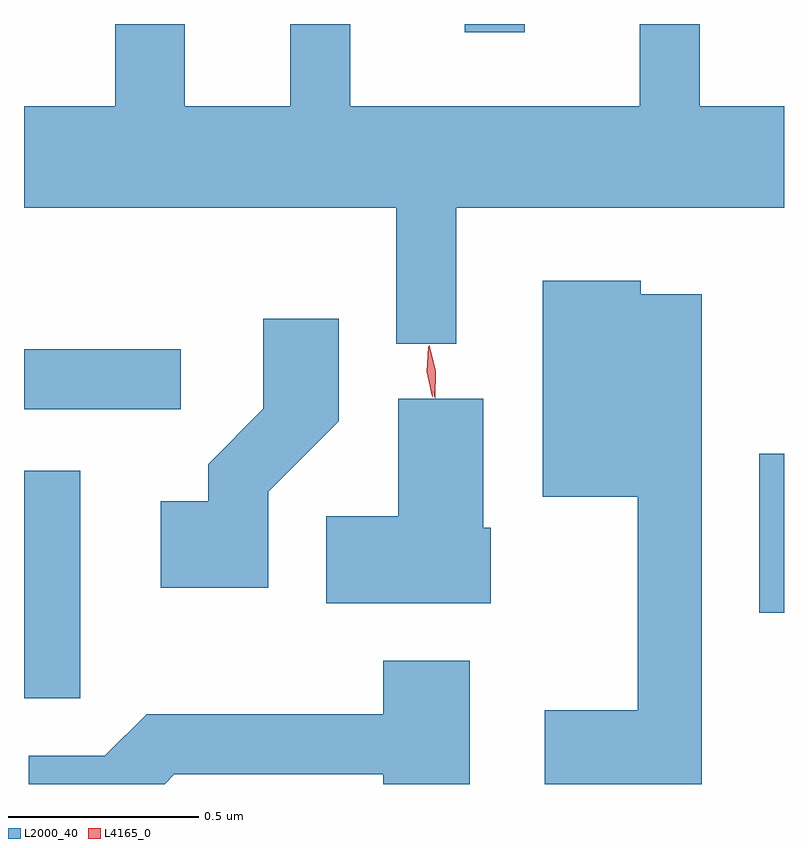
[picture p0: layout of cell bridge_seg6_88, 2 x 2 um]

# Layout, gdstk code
import gdstk
lib = gdstk.Library(unit=1e-6, precision=1e-09)
def R(c, l, rs):  # rectangles x0, y0, x1, y1
    for r in rs: c.add(gdstk.rectangle(r[:2], r[2:], *l))
def P(c, l, *ps):  # polygons
    for p in ps: c.add(gdstk.Polygon(p, *l))
L2000_40 = (2000, 40)
L4165_0 = (4165, 0)

bridge_seg6_88 = lib.new_cell('bridge_seg6_88')
R(bridge_seg6_88, L2000_40, [(1357.596,1648.646,1357.744,1649.244), (1359.531,1648.871,1359.596,1649.289), (1357.596,1649.406,1358.008,1649.564), (1358.756,1650.398,1358.914,1650.42)])
P(bridge_seg6_88, L2000_40, [(1358.734,1649.936),(1359.596,1649.936),(1359.596,1650.204),(1359.374,1650.204),(1359.374,1650.42),(1359.216,1650.42),(1359.216,1650.204),(1358.454,1650.204),(1358.454,1650.42),(1358.296,1650.42),(1358.296,1650.204),(1358.019,1650.204),(1358.019,1650.42),(1357.836,1650.42),(1357.836,1650.204),(1357.596,1650.204),(1357.596,1649.936),(1358.576,1649.936),(1358.576,1649.578),(1358.734,1649.578)],
  [(1359.379,1649.709),(1359.219,1649.709),(1359.219,1649.744),(1358.961,1649.744),(1358.961,1649.176),(1359.211,1649.176),(1359.211,1648.614),(1358.966,1648.614),(1358.966,1648.42),(1359.379,1648.42)],
  [(1358.239,1649.189),(1358.424,1649.374),(1358.424,1649.644),(1358.226,1649.644),(1358.226,1649.407),(1358.081,1649.262),(1358.081,1649.164),(1357.956,1649.164),(1357.956,1648.936),(1358.239,1648.936)],
  [(1358.824,1649.094),(1358.804,1649.094),(1358.804,1649.434),(1358.581,1649.434),(1358.581,1649.124),(1358.391,1649.124),(1358.391,1648.896),(1358.824,1648.896)],
  [(1357.992,1648.446),(1358.541,1648.446),(1358.541,1648.42),(1358.769,1648.42),(1358.769,1648.744),(1358.541,1648.744),(1358.541,1648.604),(1357.919,1648.604),(1357.809,1648.494),(1357.608,1648.494),(1357.608,1648.42),(1357.966,1648.42)])
P(bridge_seg6_88, L4165_0, [(1358.677,1649.437),(1358.66,1649.505),(1358.662,1649.575),(1358.663,1649.575),(1358.663,1649.575),(1358.68,1649.507),(1358.678,1649.437),(1358.678,1649.437)],
  [(1358.67,1649.439),(1358.67,1649.439),(1358.656,1649.505),(1358.66,1649.571),(1358.661,1649.572),(1358.661,1649.571),(1358.676,1649.506),(1358.671,1649.439)])

lib.write_gds('bridge_seg6_88.gds')
